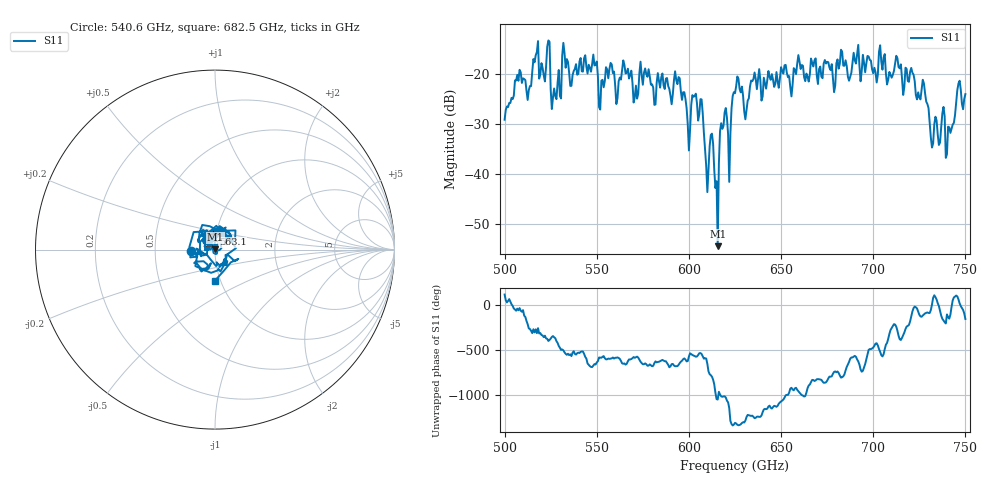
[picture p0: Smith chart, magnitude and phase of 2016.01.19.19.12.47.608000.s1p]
!Created with skrf (http://scikit-rf.org).
# GHz S RI R 50.0
!freq ReS11 ImS11
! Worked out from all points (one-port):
!   401 points, 500 GHz to 750 GHz, reference 50 ohm
!   lowest |S11| = -54.4 dB at 615.6 GHz (marker M1), VSWR 1.00, Z = 50.2 + j0.0807 ohm
!   |S11| at or under -10 dB: start of sweep to end of sweep
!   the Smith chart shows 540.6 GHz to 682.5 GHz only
!   S11 on the Smith chart (normalised r, x): 540.6 GHz: 0.76, -0.01; 563.1 GHz: 0.97, +0.17; 682.5 GHz: 0.94, -0.34
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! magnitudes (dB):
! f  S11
! 500 GHz  -29.1
! 507.5 GHz  -21.3
! 513.1 GHz  -23.2
! 516.9 GHz  -16.3
! 523.8 GHz  -13.3
! 526.9 GHz  -22.9
! 531.2 GHz  -16.3
! 540.6 GHz  -17.5
! 562.5 GHz  -20.7
! 563.1 GHz  -21.1
! 593.8 GHz  -22.0
! 599.4 GHz  -30.1
! 606.9 GHz  -25.1
! 609.4 GHz  -38.3
! 612.5 GHz  -31.9
! 615.6 GHz  -54.4
! 618.1 GHz  -30.9
! 621.9 GHz  -41.5
! 625 GHz  -23.8
! 656.2 GHz  -22.1
! 682.5 GHz  -15.2
! 687.5 GHz  -20.6
! 718.8 GHz  -21.4
! 727.5 GHz  -21.9
! 731.9 GHz  -34.7
! 740.6 GHz  -30.5
! 746.2 GHz  -21.9
! 750 GHz  -24.0
